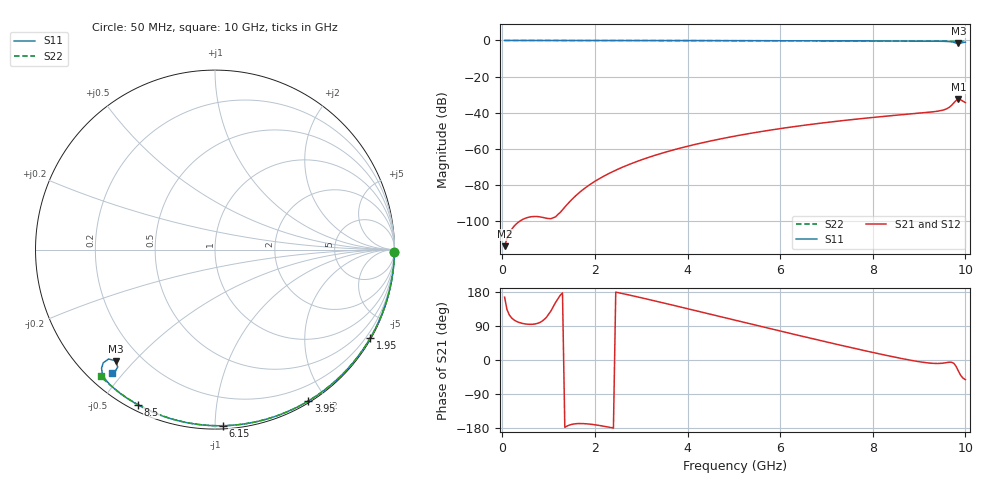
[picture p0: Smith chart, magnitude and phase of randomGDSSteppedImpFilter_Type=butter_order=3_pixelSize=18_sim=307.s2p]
! freq	dB(S11)	phase(S11)	dB(S12)	phase(S12)
!  dB(S21)	phase(S21)	dB(S22)	phase(S22)
!S-par simulation data
#  GHz  S  DB  R 50
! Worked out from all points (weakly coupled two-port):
!   200 points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, 50 MHz to 10 GHz, reference 50 ohm
!   highest |S21| = -32.59 dB at 9.85 GHz (marker M1); lowest = -114.0 dB at 50 MHz (marker M2)
!   lowest |S11| = -1.6 dB at 9.85 GHz (marker M3), VSWR 10.84, Z = 5.53 - j22.2 ohm
!   |S11| at or under -10 dB: nowhere
!   |S22| runs from -0.4 to 0.0 dB; largest |S21 - S12| = 0
!   S11 on the Smith chart (normalised r, x): 50 MHz: open; 1.95 GHz: 0.03, -3.79; 3.95 GHz: 0.02, -1.79; 6.15 GHz: 0.02, -1.05; 8.5 GHz: 0.02, -0.62; 10 GHz: 0.07, -0.47
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0.05  -0.00 -0.8  -114.00 165.8  -114.00 165.8  -0.00 -0.8
0.9  -0.02 -13.8  -98.24 106.5  -98.24 106.5  -0.02 -13.7
1.75  -0.03 -26.6  -82.51 -167.9  -82.51 -167.9  -0.03 -26.4
1.9  -0.04 -28.8  -79.73 -169.4  -79.73 -169.4  -0.04 -28.6
1.95  -0.04 -29.6  -78.88 -170.1  -78.88 -170.1  -0.04 -29.3
2.25  -0.04 -34.0  -74.42 -176.1  -74.42 -176.1  -0.04 -33.7
2.55  -0.05 -38.4  -70.74 176.5  -70.74 176.5  -0.05 -38.0
2.95  -0.06 -44.2  -66.65 165.7  -66.65 165.7  -0.06 -43.8
3.4  -0.07 -50.6  -62.84 152.9  -62.84 152.9  -0.07 -50.2
3.95  -0.08 -58.3  -58.95 136.8  -58.95 136.8  -0.08 -57.8
5.05  -0.11 -73.2  -52.88 104.4  -52.88 104.4  -0.11 -72.6
6.15  -0.15 -87.5  -48.30 72.1  -48.30 72.1  -0.15 -86.7
6.7  -0.18 -94.4  -46.40 56.2  -46.40 56.2  -0.18 -93.5
8.35  -0.29 -114.5  -41.81 10.7  -41.81 10.7  -0.29 -113.1
8.5  -0.30 -116.3  -41.45 6.9  -41.45 6.9  -0.30 -114.9
9.5  -0.46 -129.6  -38.71 -8.6  -38.71 -8.6  -0.39 -126.3
9.6  -0.55 -131.5  -37.81 -6.8  -37.81 -6.8  -0.40 -127.4
9.7  -0.78 -133.8  -35.99 -5.9  -35.99 -5.9  -0.41 -128.5
9.8  -1.41 -134.2  -33.22 -16.9  -33.22 -16.9  -0.42 -129.6
9.85  -1.61 -131.8  -32.59 -29.5  -32.59 -29.5  -0.42 -130.2
9.9  -1.42 -129.7  -32.95 -40.9  -32.95 -40.9  -0.43 -130.8
10  -0.94 -129.9  -34.44 -51.8  -34.44 -51.8  -0.44 -132.0
